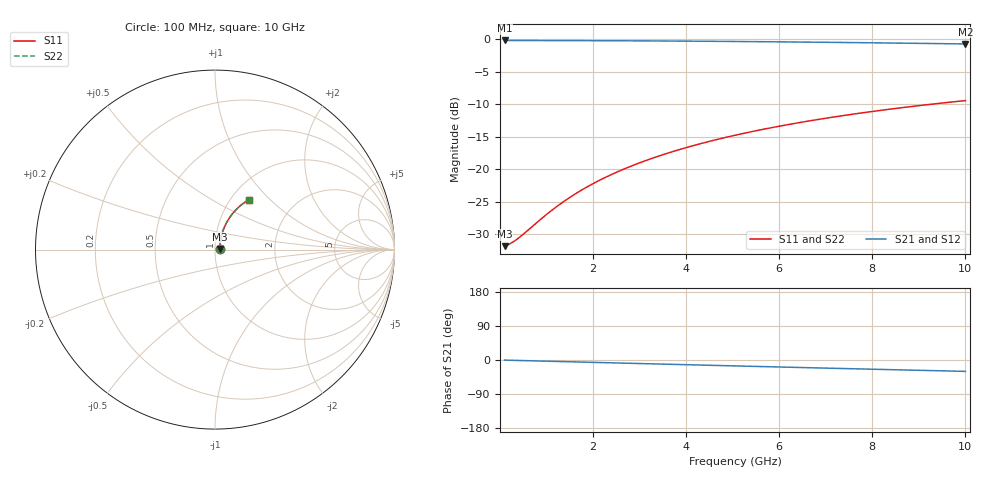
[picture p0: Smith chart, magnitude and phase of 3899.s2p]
# Hz S RI R 50.00
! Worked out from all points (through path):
!   100 points, 100 MHz to 10 GHz, reference 50 ohm
!   highest |S21| = -0.22 dB at 100 MHz (marker M1); lowest = -0.8 dB at 10 GHz (marker M2)
!   group delay of S21, straight-line fit = 8.36 ps
!   lowest |S11| = -31.8 dB at 100 MHz (marker M3), VSWR 1.05, Z = 52.6 + j0.371 ohm
!   |S11| at or under -10 dB: start of sweep to 9.29 GHz
!   |S22| runs from -31.8 to -9.5 dB; largest |S21 - S12| = 0
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1e8  0.0254 0.00352  0.9746 -0.00531  0.9746 -0.00531  0.0254 0.00352
2e8  0.0256 0.00704  0.9743 -0.0106  0.9743 -0.0106  0.0256 0.00704
3e8  0.0259 0.0106  0.9741 -0.0159  0.9741 -0.0159  0.0259 0.0106
4e8  0.0261 0.0141  0.9739 -0.0212  0.9739 -0.0212  0.0261 0.0141
9e8  0.0277 0.0316  0.9722 -0.0477  0.9722 -0.0477  0.0277 0.0316
1.2e9  0.029 0.042  0.9707 -0.0635  0.9707 -0.0635  0.029 0.042
1.5e9  0.0307 0.0524  0.9689 -0.0792  0.9689 -0.0792  0.0307 0.0524
1.8e9  0.0327 0.0627  0.9668 -0.0949  0.9668 -0.0949  0.0327 0.0627
2.1e9  0.035 0.073  0.9643 -0.1105  0.9643 -0.1105  0.035 0.073
2.5e9  0.0386 0.0865  0.9604 -0.1312  0.9604 -0.1312  0.0386 0.0865
2.9e9  0.0427 0.0998  0.9559 -0.1516  0.9559 -0.1516  0.0427 0.0998
3.4e9  0.0486 0.116  0.9494 -0.1769  0.9494 -0.1769  0.0486 0.116
3.8e9  0.054 0.1288  0.9436 -0.1968  0.9436 -0.1968  0.054 0.1288
4.2e9  0.0599 0.1412  0.9372 -0.2164  0.9372 -0.2164  0.0599 0.1412
4.6e9  0.0662 0.1534  0.9303 -0.2358  0.9303 -0.2358  0.0662 0.1534
5.1e9  0.0749 0.1681  0.9208 -0.2595  0.9208 -0.2595  0.0749 0.1681
5.9e9  0.0901 0.1904  0.9041 -0.2962  0.9041 -0.2962  0.0901 0.1904
6.7e9  0.107 0.2112  0.8856 -0.3315  0.8856 -0.3315  0.107 0.2112
7.5e9  0.1253 0.2302  0.8653 -0.365  0.8653 -0.365  0.1253 0.2302
8.4e9  0.1474 0.2495  0.8408 -0.4007  0.8408 -0.4007  0.1474 0.2495
9.2e9  0.1681 0.2647  0.8177 -0.4304  0.8177 -0.4304  0.1681 0.2647
1e10  0.1897 0.278  0.7936 -0.4583  0.7936 -0.4583  0.1897 0.278
